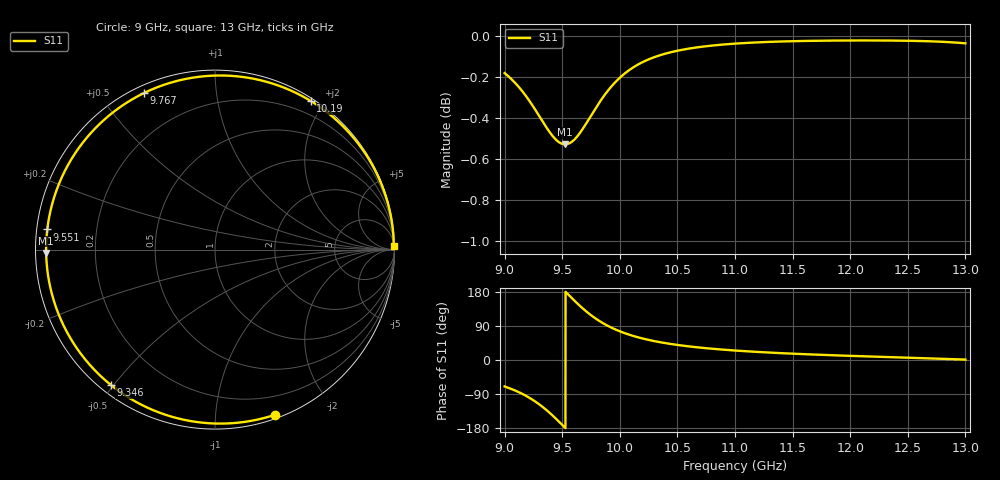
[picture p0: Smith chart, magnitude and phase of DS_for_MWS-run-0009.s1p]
! TOUCHSTONE file generated by CST DESIGN STUDIO
! Date and time: Tue Feb  4 14:20:57 2025
! Project name: C:\Work\MatlabApps\UnitCellOptimizationMatlab\CST\unitcell.cst
! Tree item: Tasks\Sweep1\SPara1\S-Parameters
! Header version: 2024
! Port assignment regex: !\s*Touchstone port\s*([0-9]+)\s*=\s*(CST MWS port|CST DES external port|CST DES block port)\s*(.+)\s* \(\"(.*)\"\)(\s*mode\s*([0-9]+))?.*
! Touchstone port assignment:
! Touchstone port 1 = CST DES external port 1 ("")
# GHz S MA R 50
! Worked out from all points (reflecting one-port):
!   4001 points, 9 GHz to 13 GHz, reference 50 ohm
!   lowest |S11| = -0.5 dB at 9.525 GHz (marker M1), VSWR 32.86, Z = 1.52 - j0.505 ohm
!   phase of S11 starts at -70 deg and turns -289 deg over the sweep
!   S11 on the Smith chart (normalised r, x): 9 GHz: 0.03, -1.43; 9.346 GHz: 0.03, -0.49; 9.551 GHz: 0.03, +0.06; 9.767 GHz: 0.03, +0.64; 10.19 GHz: 0.03, +1.83; 13 GHz: open
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9  0.9792 -69.9
9.097  0.9734 -81.3
9.204  0.9651 -97.7
9.279  0.9581 -112.2
9.346  0.9515 -127.7
9.389  0.9475 -138.8
9.432  0.9442 -150.9
9.5  0.9412 -171.2
9.525  0.9409 -178.8
9.551  0.9412 173.2
9.604  0.9433 157.1
9.664  0.9478 139.9
9.715  0.9526 126.6
9.767  0.9578 114.4
9.815  0.9625 104.4
9.868  0.9672 94.7
9.934  0.9724 84.4
10  0.9766 75.7
10.091  0.9812 65.9
10.192  0.985 57.2
10.333  0.9887 47.9
10.5  0.9915 39.8
10.721  0.9938 32.0
11  0.9955 25.0
11.5  0.9968 16.7
12  0.9972 10.9
12.5  0.9971 6.1
13  0.9956 1.1
